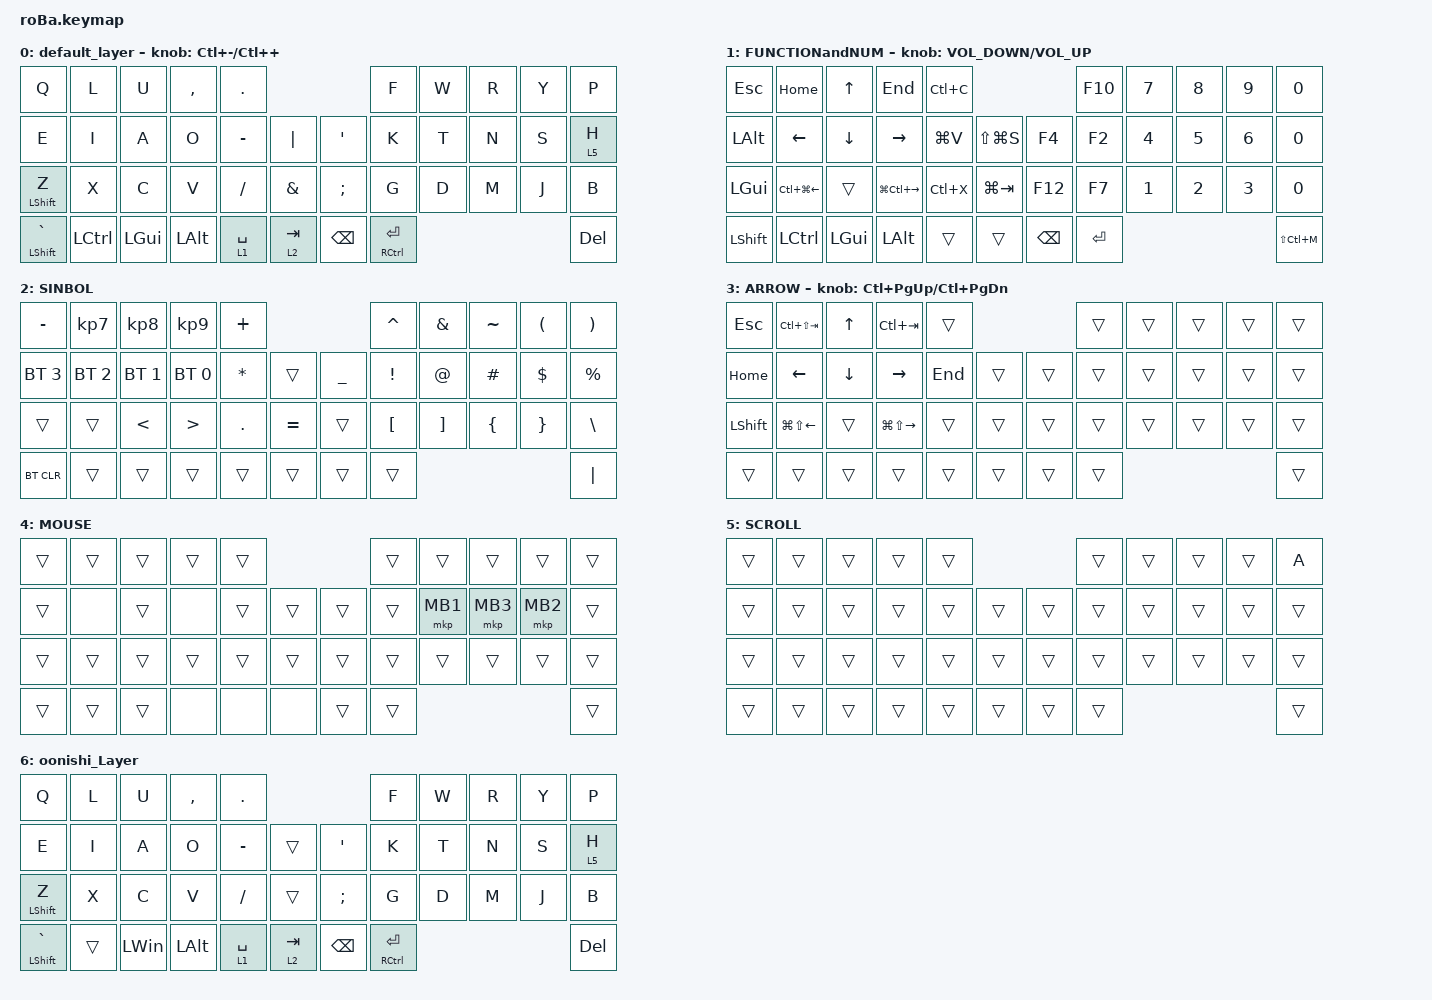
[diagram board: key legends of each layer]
#include <input/processors.dtsi>
#include <behaviors.dtsi>
#include <dt-bindings/zmk/bt.h>
#include <dt-bindings/zmk/keys.h>
#include <dt-bindings/zmk/pointing.h>

&mt {
    flavor = "balanced";
    quick-tap-ms = <0>;
};

//&mkp_input_listener { input-processors = <&zip_temp_layer 4 10000>; };

&trackball {
    //automouse-layer = <4>;

    scroll-layers = <5>;

    // arrows {
    //     layers = <3>;
    //     bindings =
    //         <&kp RIGHT_ARROW>,
    //         <&kp LEFT_ARROW>,
    //         <&kp UP_ARROW>,
    //         <&kp DOWN_ARROW>;
    //     tick = <10>;
    //     wait-ms = <5>;
    //     tap-ms = <5>;
    // };
};

/ {
    combos {
        compatible = "zmk,combos";

        eq {
            bindings = <&kp EQUAL>;
            key-positions = <24 25>;
        };

        left_click {
            bindings = <&mkp MB1>;
            key-positions = <18 19>;
        };

        right_click {
            bindings = <&mkp MB2>;
            key-positions = <19 20>;
        };

        hidari_kakko {
            bindings = <&kp LEFT_PARENTHESIS>;
            key-positions = <6 7>;
        };

        migi_kakko {
            bindings = <&kp RIGHT_PARENTHESIS>;
            key-positions = <7 8>;
        };

        atto_mark {
            bindings = <&kp AT_SIGN>;
            key-positions = <30 31>;
        };

        sharp {
            bindings = <&kp HASH>;
            key-positions = <31 32>;
        };

        change_laguage {
            bindings = <&kp LC(LEFT_SHIFT)>;
            key-positions = <13 18>;
        };

        add_new_screen {
            bindings = <&kp LC(LG(D))>;
            key-positions = <13 12 11 10 18 19 20 21>;
        };

        prev {
            bindings = <&mkp MB4>;
            key-positions = <17 16>;
        };

        next {
            bindings = <&mkp MB5>;
            key-positions = <20 21>;
        };

        asutarisuku {
            bindings = <&kp ASTRK>;
            key-positions = <24 23>;
        };
    };

    macros {
        to_layer_0: to_layer_0 {
            compatible = "zmk,behavior-macro-one-param";
            #binding-cells = <1>;
            bindings = <&to 0 &macro_param_1to1 &kp MACRO_PLACEHOLDER>;
            label = "TO_LAYER_0";
        };

        view_task: view_task {
            compatible = "zmk,behavior-macro";
            #binding-cells = <0>;
            bindings = <&kp LG(TAB)>;
            label = "VIEW_TASK";
        };
    };

    behaviors {
        lt_to_layer_0: lt_to_layer_0 {
            compatible = "zmk,behavior-hold-tap";
            label = "LAYER_TAP_TO_0";
            bindings = <&mo>, <&to_layer_0>;

            #binding-cells = <2>;
            tapping-term-ms = <200>;
        };
    };

    keymap {
        compatible = "zmk,keymap";

        default_layer {
            bindings = <
&kp Q                 &kp L             &kp U         &kp COMMA     &kp PERIOD                                            &kp F                    &kp W  &kp R  &kp Y  &kp P
&kp E                 &kp I             &kp A         &kp O         &kp MINUS    &kp PIPE                  &kp APOS       &kp K                    &kp T  &kp N  &kp S  &lt 5 H
&mt LEFT_SHIFT Z      &kp X             &kp C         &kp V         &kp SLASH    &kp AMPERSAND             &kp SEMICOLON  &kp G                    &kp D  &kp M  &kp J  &kp B
&mt LEFT_SHIFT GRAVE  &kp LEFT_CONTROL  &kp LEFT_GUI  &kp LEFT_ALT  &lt 1 SPACE  &lt_to_layer_0 2 TAB      &kp BACKSPACE  &mt RIGHT_CONTROL ENTER                       &kp DELETE
            >;

            sensor-bindings = <&inc_dec_kp LC(MINUS) LC(PLUS)>;
        };

        FUNCTIONandNUM {
            bindings = <
&kp ESCAPE      &kp HOME                &kp UP_ARROW    &kp END                  &kp LC(C)                                    &kp F10    &kp NUMBER_7  &kp NUMBER_8  &kp NUMBER_9  &kp NUMBER_0
&kp LEFT_ALT    &kp LEFT_ARROW          &kp DOWN_ARROW  &kp RIGHT_ARROW          &kp LG(V)  &kp LS(LG(S))      &kp F4         &kp F2     &kp NUMBER_4  &kp NUMBER_5  &kp NUMBER_6  &kp NUMBER_0
&kp LEFT_GUI    &kp LC(LG(LEFT_ARROW))  &trans          &kp LG(LC(RIGHT_ARROW))  &kp LC(X)  &kp LG(TAB)        &kp F12        &kp F7     &kp NUMBER_1  &kp NUMBER_2  &kp NUMBER_3  &kp NUMBER_0
&kp LEFT_SHIFT  &kp LEFT_CONTROL        &kp LEFT_GUI    &kp LEFT_ALT             &trans     &trans             &kp BACKSPACE  &kp ENTER                                            &kp LS(LC(M))
            >;

            sensor-bindings = <&inc_dec_kp C_VOLUME_DOWN C_VOLUME_UP>;
        };

        SINBOL {
            bindings = <
&kp MINUS     &kp KP_NUMBER_7  &kp KP_NUMBER_8  &kp KP_NUMBER_9   &kp PLUS                                     &kp CARET         &kp AMPERSAND      &kp TILDE       &kp LEFT_PARENTHESIS  &kp RIGHT_PARENTHESIS
&bt BT_SEL 3  &bt BT_SEL 2     &bt BT_SEL 1     &bt BT_SEL 0      &kp ASTERISK  &trans         &kp UNDERSCORE  &kp EXCLAMATION   &kp AT_SIGN        &kp HASH        &kp DOLLAR            &kp PERCENT
&trans        &trans           &kp LESS_THAN    &kp GREATER_THAN  &kp PERIOD    &kp EQUAL      &trans          &kp LEFT_BRACKET  &kp RIGHT_BRACKET  &kp LEFT_BRACE  &kp RIGHT_BRACE       &kp BACKSLASH
&bt BT_CLR    &trans           &trans           &trans            &trans        &trans         &trans          &trans                                                                     &kp PIPE
            >;
        };

        ARROW {
            bindings = <
&kp ESCAPE      &kp LC(LS(TAB))         &kp UP_ARROW    &kp LC(TAB)              &trans                       &trans  &trans  &trans  &trans  &trans
&kp HOME        &kp LEFT_ARROW          &kp DOWN_ARROW  &kp RIGHT_ARROW          &kp END  &trans      &trans  &trans  &trans  &trans  &trans  &trans
&kp LEFT_SHIFT  &kp LG(LS(LEFT_ARROW))  &trans          &kp LG(LS(RIGHT_ARROW))  &trans   &trans      &trans  &trans  &trans  &trans  &trans  &trans
&trans          &trans                  &trans          &trans                   &trans   &trans      &trans  &trans                          &trans
            >;

            sensor-bindings = <&inc_dec_kp LC(PAGE_UP) LC(PAGE_DOWN)>;
        };

        MOUSE {
            bindings = <
&trans  &trans  &trans  &trans  &trans                      &trans  &trans    &trans    &trans    &trans
&trans  &none   &trans  &none   &trans  &trans      &trans  &trans  &mkp MB1  &mkp MB3  &mkp MB2  &trans
&trans  &trans  &trans  &trans  &trans  &trans      &trans  &trans  &trans    &trans    &trans    &trans
&trans  &trans  &trans  &none   &none   &none       &trans  &trans                                &trans
            >;
        };

        SCROLL {
            bindings = <
&trans  &trans  &trans  &trans  &trans                      &trans  &trans  &trans  &trans  &kp A
&trans  &trans  &trans  &trans  &trans  &trans      &trans  &trans  &trans  &trans  &trans  &trans
&trans  &trans  &trans  &trans  &trans  &trans      &trans  &trans  &trans  &trans  &trans  &trans
&trans  &trans  &trans  &trans  &trans  &trans      &trans  &trans                          &trans
            >;
        };

        oonishi_Layer {
            bindings = <
&kp Q                 &kp L   &kp U         &kp COMMA     &kp PERIOD                                 &kp F                    &kp W  &kp R  &kp Y  &kp P
&kp E                 &kp I   &kp A         &kp O         &kp MINUS    &trans         &kp APOS       &kp K                    &kp T  &kp N  &kp S  &lt 5 H
&mt LEFT_SHIFT Z      &kp X   &kp C         &kp V         &kp SLASH    &trans         &kp SEMICOLON  &kp G                    &kp D  &kp M  &kp J  &kp B
&mt LEFT_SHIFT GRAVE  &trans  &kp LEFT_WIN  &kp LEFT_ALT  &lt 1 SPACE  &lt 2 TAB      &kp BACKSPACE  &mt RIGHT_CONTROL ENTER                       &kp DELETE
            >;
        };
    };
};
